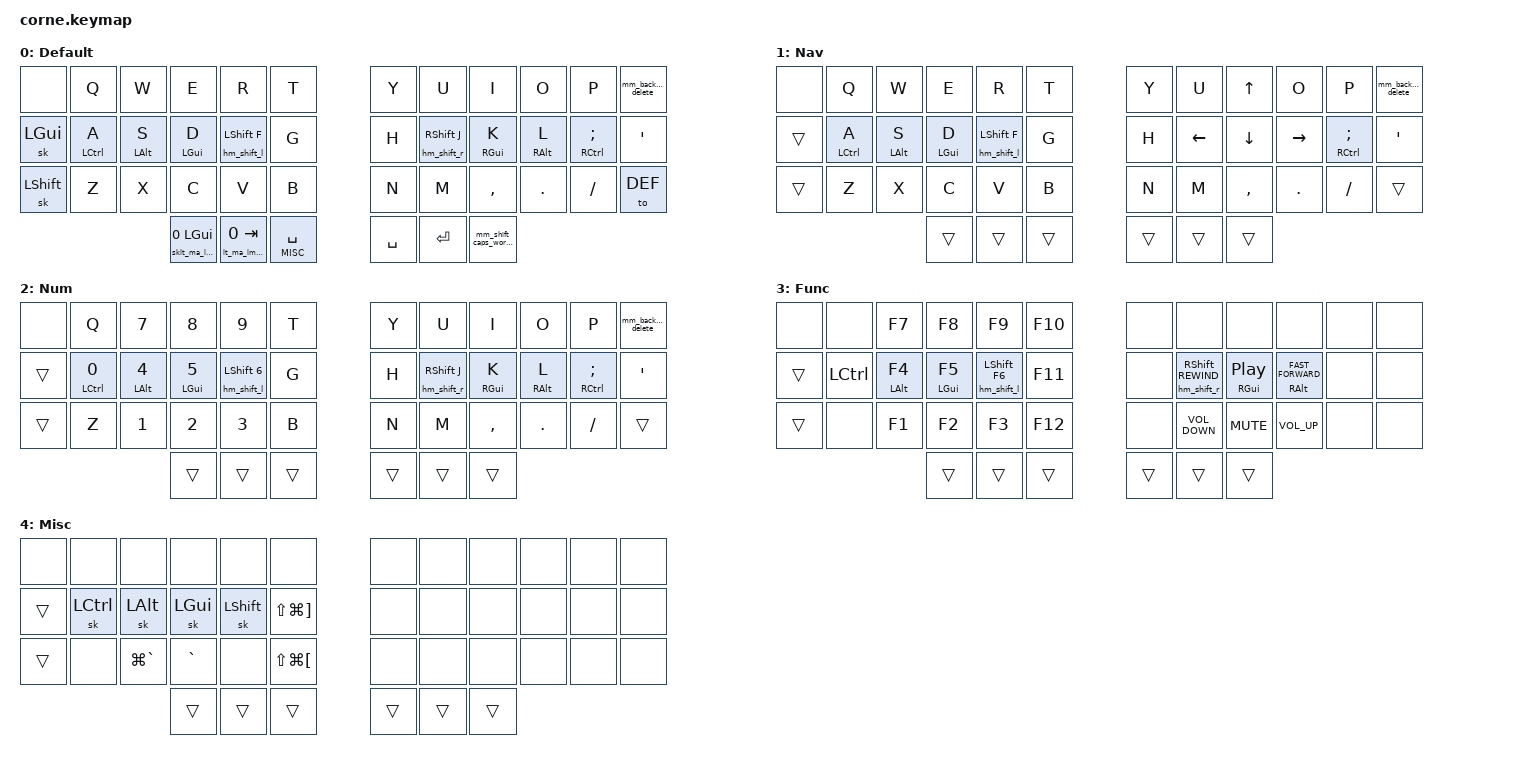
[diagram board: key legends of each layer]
#include <behaviors.dtsi>
#include <dt-bindings/zmk/bt.h>
#include <dt-bindings/zmk/keys.h>

#define DEF 0
#define NAV 1
#define NUM 2
#define FUNC 3
#define MISC 4

#include "settings.dtsi"
#include "keys-positions.dtsi"
#include "combos.dtsi"
#include "behaviors/home-row-mods.dtsi"
#include "behaviors/mod-morphs.dtsi"
#include "behaviors/other.dtsi"
#include "behaviors/auto-layers.dtsi"
#include "macros.dtsi"
#include "mod-absorbs/mod-absorb-num.dtsi"
#include "mod-absorbs/mod-absorb-func.dtsi"

    //
/ {
    keymap {
        compatible = "zmk,keymap";

        DEF {
            display-name = "Default";

            bindings = <

// ╭────────────────────────┬────────────────────────┬────────────────────────┬────────────────────────┬────────────────────────┬────────────────────────╮    ╭────────────────────────┬────────────────────────┬────────────────────────┬───────────────────────┬────────────────────────┬────────────────────────╮
     &none                    &kp Q                    &kp W                    &kp E                    &kp R                    &kp T                         &kp Y                    &kp U                    &kp I                    &kp O                    &kp P                   &mm_backspace_delete
// ├────────────────────────┼────────────────────────┼────────────────────────┼────────────────────────┼────────────────────────┼────────────────────────┤    ├────────────────────────┼────────────────────────┼────────────────────────┼───────────────────────┼────────────────────────┼────────────────────────┤
     &sk LGUI                 &hm_l LCTRL A            &hm_l LALT S             &hm_l LGUI D             &hm_shift_l LSHFT F      &kp G                         &kp H                    &hm_shift_r RSHFT J      &hm_r RGUI K             &hm_r RALT L             &hm_r RCTRL SEMI        &kp SQT
// ├────────────────────────┼────────────────────────┼────────────────────────┼────────────────────────┼────────────────────────┼────────────────────────┤    ├────────────────────────┼────────────────────────┼────────────────────────┼───────────────────────┼────────────────────────┼────────────────────────┤
     &sk LSHFT                &kp Z                    &kp X                    &kp C                    &kp V                    &kp B                         &kp N                    &kp M                    &kp COMMA                &kp DOT                  &kp FSLH                &to DEF   
// ╰────────────────────────┴────────────────────────┴────────────────────────┴────────────────────────┼────────────────────────┼────────────────────────┤    ├────────────────────────┼────────────────────────┼────────────────────────┼───────────────────────┼────────────────────────┼────────────────────────╯
                                                                                &sklt_ma_lm_num 0 LGUI   &lt_ma_lm_func 0 TAB     &lt MISC SPACE                &kp SPACE                &kp RET                  &mm_shift_caps_word_r
//    
      >;
        };

        NAV {
            display-name = "Nav";

            bindings = <

// ╭────────────────────────┬────────────────────────┬────────────────────────┬────────────────────────┬────────────────────────┬────────────────────────╮    ╭────────────────────────┬────────────────────────┬────────────────────────┬───────────────────────┬────────────────────────┬────────────────────────╮
     &none                    &kp Q                    &kp W                    &kp E                    &kp R                    &kp T                         &kp Y                    &kp U                    &kp UP                   &kp O                    &kp P                   &mm_backspace_delete
// ├────────────────────────┼────────────────────────┼────────────────────────┼────────────────────────┼────────────────────────┼────────────────────────┤    ├────────────────────────┼────────────────────────┼────────────────────────┼───────────────────────┼────────────────────────┼────────────────────────┤
     &trans                   &hm_l LCTRL A            &hm_l LALT S             &hm_l LGUI D             &hm_shift_l LSHFT F      &kp G                         &kp H                    &kp LEFT                 &kp DOWN                 &kp RIGHT                &hm_r RCTRL SEMI        &kp SQT
// ├────────────────────────┼────────────────────────┼────────────────────────┼────────────────────────┼────────────────────────┼────────────────────────┤    ├────────────────────────┼────────────────────────┼────────────────────────┼───────────────────────┼────────────────────────┼────────────────────────┤
     &trans                   &kp Z                    &kp X                    &kp C                    &kp V                    &kp B                         &kp N                    &kp M                    &kp COMMA                &kp DOT                  &kp FSLH                &trans 
// ╰────────────────────────┴────────────────────────┴────────────────────────┴────────────────────────┼────────────────────────┼────────────────────────┤    ├────────────────────────┼────────────────────────┼────────────────────────┼───────────────────────┼────────────────────────┼────────────────────────╯
                                                                                &trans                   &trans                   &trans                        &trans                   &trans                   &trans 
//    
      >;
        };

        NUM {
            display-name = "Num";

            bindings = <

// ╭────────────────────────┬────────────────────────┬────────────────────────┬────────────────────────┬────────────────────────┬────────────────────────╮    ╭────────────────────────┬────────────────────────┬────────────────────────┬───────────────────────┬────────────────────────┬────────────────────────╮
     &none                    &kp Q                    &kp N7                   &kp N8                   &kp N9                   &kp T                         &kp Y                    &kp U                    &kp I                    &kp O                    &kp P                   &mm_backspace_delete
// ├────────────────────────┼────────────────────────┼────────────────────────┼────────────────────────┼────────────────────────┼────────────────────────┤    ├────────────────────────┼────────────────────────┼────────────────────────┼───────────────────────┼────────────────────────┼────────────────────────┤
     &trans                   &hm_l LCTRL N0           &hm_l LALT N4            &hm_l LGUI N5            &hm_shift_l LSHFT N6     &kp G                         &kp H                    &hm_shift_r RSHFT J      &hm_r RGUI K             &hm_r RALT L             &hm_r RCTRL SEMI        &kp SQT
// ├────────────────────────┼────────────────────────┼────────────────────────┼────────────────────────┼────────────────────────┼────────────────────────┤    ├────────────────────────┼────────────────────────┼────────────────────────┼───────────────────────┼────────────────────────┼────────────────────────┤
     &trans                   &kp Z                    &kp N1                   &kp N2                   &kp N3                   &kp B                         &kp N                    &kp M                    &kp COMMA                &kp DOT                  &kp FSLH                &trans
// ╰────────────────────────┴────────────────────────┴────────────────────────┴────────────────────────┼────────────────────────┼────────────────────────┤    ├────────────────────────┼────────────────────────┼────────────────────────┼───────────────────────┼────────────────────────┼────────────────────────╯
                                                                                &trans                   &trans                   &trans                        &trans                   &trans                   &trans 
//    
      >;
        };

        FUNC {
            display-name = "Func";
            bindings = <

// ╭────────────────────────┬────────────────────────┬────────────────────────┬────────────────────────┬────────────────────────┬────────────────────────╮    ╭────────────────────────┬────────────────────────┬────────────────────────┬───────────────────────┬────────────────────────┬────────────────────────╮
     &none                    &none                    &kp F7                   &kp F8                   &kp F9                   &kp F10                       &none                    &none                    &none                    &none                    &none                   &none
// ├────────────────────────┼────────────────────────┼────────────────────────┼────────────────────────┼────────────────────────┼────────────────────────┤    ├────────────────────────┼────────────────────────┼────────────────────────┼───────────────────────┼────────────────────────┼────────────────────────┤
     &trans                   &kp LCTRL                &hm_l LALT F4            &hm_l LGUI F5            &hm_shift_l LSHFT F6     &kp F11                       &none                    &hm_shift_r RSHFT C_REWIND &hm_r RGUI C_PLAY_PAUSE &hm_r RALT C_FAST_FORWARD &none                  &none
// ├────────────────────────┼────────────────────────┼────────────────────────┼────────────────────────┼────────────────────────┼────────────────────────┤    ├────────────────────────┼────────────────────────┼────────────────────────┼───────────────────────┼────────────────────────┼────────────────────────┤
     &trans                   &none                    &kp F1                   &kp F2                   &kp F3                   &kp F12                       &none                    &kp C_VOLUME_DOWN        &kp C_MUTE               &kp C_VOLUME_UP          &none                   &none
// ╰────────────────────────┴────────────────────────┴────────────────────────┴────────────────────────┼────────────────────────┼────────────────────────┤    ├────────────────────────┼────────────────────────┼────────────────────────┼───────────────────────┼────────────────────────┼────────────────────────╯
                                                                                &trans                   &trans                   &trans                        &trans                   &trans                   &trans 
//    
      >;
        };

     MISC {
            display-name = "Misc";
            bindings = <

// ╭────────────────────────┬────────────────────────┬────────────────────────┬────────────────────────┬────────────────────────┬────────────────────────╮    ╭────────────────────────┬────────────────────────┬────────────────────────┬───────────────────────┬────────────────────────┬────────────────────────╮
     &none                    &none                    &none                    &none                    &none                    &none                         &none                    &none                    &none                    &none                    &none                   &none
// ├────────────────────────┼────────────────────────┼────────────────────────┼────────────────────────┼────────────────────────┼────────────────────────┤    ├────────────────────────┼────────────────────────┼────────────────────────┼───────────────────────┼────────────────────────┼────────────────────────┤
     &trans                   &sk LCTRL                &sk LALT                 &sk LGUI                 &sk LSHFT                &kp LS(LG(RBKT))              &none                    &none                    &none                    &none                    &none                  &none
// ├────────────────────────┼────────────────────────┼────────────────────────┼────────────────────────┼────────────────────────┼────────────────────────┤    ├────────────────────────┼────────────────────────┼────────────────────────┼───────────────────────┼────────────────────────┼────────────────────────┤
     &trans                   &none                    &kp LG(GRAVE)            &kp GRAVE                &none                    &kp LS(LG(LBKT))              &none                    &none                    &none                    &none                    &none                   &none
// ╰────────────────────────┴────────────────────────┴────────────────────────┴────────────────────────┼────────────────────────┼────────────────────────┤    ├────────────────────────┼────────────────────────┼────────────────────────┼───────────────────────┼────────────────────────┼────────────────────────╯
                                                                                &trans                   &trans                   &trans                        &trans                   &trans                   &trans 
//    
      >;
        };
    };
};
